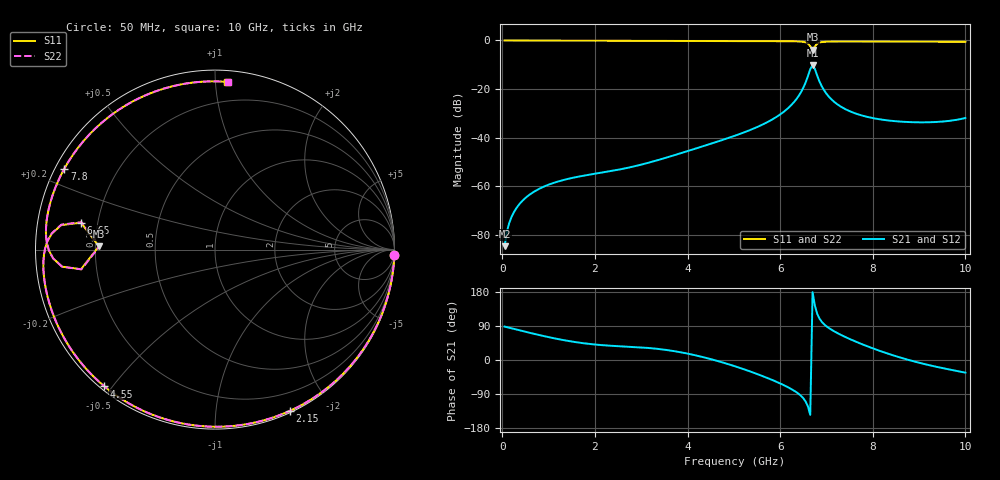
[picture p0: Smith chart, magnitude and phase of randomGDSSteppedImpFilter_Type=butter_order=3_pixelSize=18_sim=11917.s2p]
! freq	dB(S11)	phase(S11)	dB(S12)	phase(S12)
!  dB(S21)	phase(S21)	dB(S22)	phase(S22)
!S-par simulation data
#  GHz  S  DB  R 50
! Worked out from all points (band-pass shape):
!   200 points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, 50 MHz to 10 GHz, reference 50 ohm
!   highest |S21| = -10.20 dB at 6.7 GHz (marker M1); lowest = -84.5 dB at 50 MHz (marker M2)
!   |S21| within 3 dB of the highest: 6.625 GHz to 6.777 GHz (151.8 MHz wide, 2.27 % of centre)
!   lowest |S11| = -3.8 dB at 6.7 GHz (marker M3), VSWR 4.67, Z = 10.7 + j0.658 ohm
!   |S11| at or under -10 dB: nowhere
!   |S22| runs from -3.8 to 0.0 dB; largest |S21 - S12| = 0
!   S11 on the Smith chart (normalised r, x): 50 MHz: 0, -72; 2.15 GHz: 0.02, -1.57; 4.55 GHz: 0.01, -0.48; 6.65 GHz: 0.14, +0.10; 7.8 GHz: 0.03, +0.25; 10 GHz: 0.07, +1.07
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0.05  -0.00 -1.6  -84.52 88.1  -84.52 88.1  -0.00 -1.6
0.25  -0.01 -7.9  -70.57 82.1  -70.57 82.1  -0.01 -7.9
0.55  -0.02 -17.2  -63.92 73.0  -63.92 73.0  -0.02 -17.2
1.05  -0.04 -32.6  -58.90 59.0  -58.90 59.0  -0.04 -32.6
1.75  -0.07 -53.5  -55.58 44.3  -55.58 44.3  -0.07 -53.5
2.15  -0.08 -65.1  -54.30 39.2  -54.30 39.2  -0.08 -65.1
3.4  -0.12 -99.4  -48.94 28.7  -48.94 28.7  -0.12 -99.5
4.55  -0.17 -128.9  -42.15 0.7  -42.15 0.7  -0.17 -129.0
5.05  -0.20 -141.5  -38.96 -17.6  -38.96 -17.6  -0.20 -141.5
5.7  -0.25 -157.9  -33.80 -46.3  -33.80 -46.3  -0.25 -158.0
6.15  -0.31 -170.0  -28.17 -70.7  -28.17 -70.7  -0.31 -170.1
6.45  -0.47 179.7  -21.24 -94.5  -21.24 -94.5  -0.47 179.6
6.55  -0.78 174.5  -17.26 -109.6  -17.26 -109.6  -0.78 174.3
6.65  -2.37 168.6  -11.78 -144.8  -11.78 -144.8  -2.40 168.4
6.7  -3.78 178.4  -10.20 179.2  -10.20 179.2  -3.83 178.3
6.75  -2.44 -171.7  -11.73 143.6  -11.73 143.6  -2.47 -171.6
6.85  -0.88 -176.9  -16.88 109.1  -16.88 109.1  -0.88 -176.9
7.1  -0.45 172.3  -24.06 80.5  -24.06 80.5  -0.45 172.2
7.8  -0.42 151.8  -31.01 40.1  -31.01 40.1  -0.42 151.7
8.35  -0.46 136.2  -32.91 15.8  -32.91 15.8  -0.46 136.1
9.2  -0.52 111.0  -33.61 -13.2  -33.61 -13.2  -0.52 110.9
10  -0.57 85.8  -31.86 -33.4  -31.86 -33.4  -0.57 85.6
